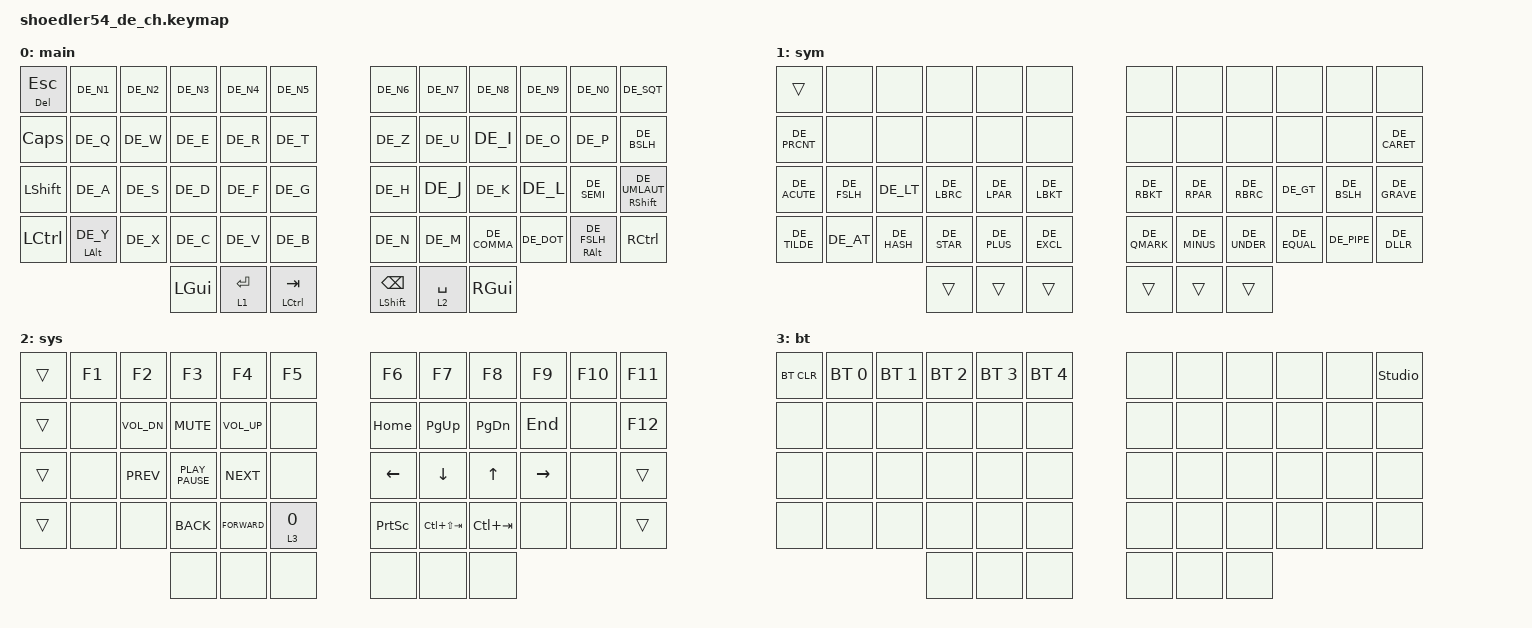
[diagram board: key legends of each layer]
#include <behaviors.dtsi>
#include <dt-bindings/zmk/keys.h>
#include <dt-bindings/zmk/bt.h>
#include "keys_de_swiss.h"

&lt { tapping-term-ms = <150>; };
&mt { tapping-term-ms = <150>; };

/ {
    behaviors {
        mttp: mttp { // Mod tap, tap-preferred
            compatible = "zmk,behavior-hold-tap";
            label = "MTTP";
            flavor = "tap-preferred";
            tapping-term-ms = <150>;
            bindings = <&kp>, <&kp>;
            #binding-cells = <2>;
            display-name = "Mod-Tap (Tap pref)";
        };

        mttpq: mttpq { // Mod tap, tap-preferred, Quick-tap
            compatible = "zmk,behavior-hold-tap";
            label = "MTTP";
            flavor = "tap-preferred";
            tapping-term-ms = <150>;
            quick-tap-ms = <149>;
            bindings = <&kp>, <&kp>;
            #binding-cells = <2>;
            display-name = "Mod-Tap (Tap pref)";
        };
    };

    keymap {
        compatible = "zmk,keymap";

        main {
            bindings = <
&mt DEL ESC  &kp DE_N1      &kp DE_N2  &kp DE_N3  &kp DE_N4  &kp DE_N5             &kp DE_N6          &kp DE_N7    &kp DE_N8     &kp DE_N9   &kp DE_N0           &kp DE_SQT
&kp CAPS     &kp DE_Q       &kp DE_W   &kp DE_E   &kp DE_R   &kp DE_T              &kp DE_Z           &kp DE_U     &kp DE_I      &kp DE_O    &kp DE_P            &kp DE_BSLH
&kp LSHIFT   &kp DE_A       &kp DE_S   &kp DE_D   &kp DE_F   &kp DE_G              &kp DE_H           &kp DE_J     &kp DE_K      &kp DE_L    &kp DE_SEMI         &mttp RSHIFT DE_UMLAUT
&kp LCTRL    &mt LALT DE_Y  &kp DE_X   &kp DE_C   &kp DE_V   &kp DE_B              &kp DE_N           &kp DE_M     &kp DE_COMMA  &kp DE_DOT  &mt RALT DE_FSLH    &kp RCTRL
                                       &kp LGUI   &lt 1 RET  &mt LCTRL TAB         &mttpq LSHFT BSPC  &lt 2 SPACE  &kp RGUI
            >;
        };

        sym {
            bindings = <
&trans        &none        &none        &none        &none        &none             &none         &none         &none         &none         &none        &none
&kp DE_PRCNT  &none        &none        &none        &none        &none             &none         &none         &none         &none         &none        &kp DE_CARET
&kp DE_ACUTE  &kp DE_FSLH  &kp DE_LT    &kp DE_LBRC  &kp DE_LPAR  &kp DE_LBKT       &kp DE_RBKT   &kp DE_RPAR   &kp DE_RBRC   &kp DE_GT     &kp DE_BSLH  &kp DE_GRAVE
&kp DE_TILDE  &kp DE_AT    &kp DE_HASH  &kp DE_STAR  &kp DE_PLUS  &kp DE_EXCL       &kp DE_QMARK  &kp DE_MINUS  &kp DE_UNDER  &kp DE_EQUAL  &kp DE_PIPE  &kp DE_DLLR
                                        &trans       &trans       &trans            &trans        &trans        &trans
            >;
        };

        sys {
            bindings = <
&trans  &kp F1  &kp F2        &kp F3            &kp F4           &kp F5       &kp F6           &kp F7           &kp F8       &kp F9     &kp F10  &kp F11
&trans  &none   &kp C_VOL_DN  &kp K_MUTE        &kp C_VOLUME_UP  &none        &kp HOME         &kp PG_UP        &kp PG_DN    &kp END    &none    &kp F12
&trans  &none   &kp K_PREV    &kp K_PLAY_PAUSE  &kp K_NEXT       &none        &kp LEFT         &kp DOWN         &kp UP       &kp RIGHT  &none    &trans
&trans  &none   &none         &kp K_BACK        &kp K_FORWARD    &lt 3 0      &kp PRINTSCREEN  &kp LC(LS(TAB))  &kp LC(TAB)  &none      &none    &trans
                              &none             &none            &none        &none            &none            &none
            >;
        };

        bt {
            bindings = <
&bt BT_CLR  &bt BT_SEL 0  &bt BT_SEL 1  &bt BT_SEL 2  &bt BT_SEL 3  &bt BT_SEL 4       &none  &none  &none  &none  &none  &studio_unlock
&none       &none         &none         &none         &none         &none              &none  &none  &none  &none  &none  &none
&none       &none         &none         &none         &none         &none              &none  &none  &none  &none  &none  &none
&none       &none         &none         &none         &none         &none              &none  &none  &none  &none  &none  &none
                                        &none         &none         &none              &none  &none  &none
            >;
        };


        extra1 { status = "reserved"; };

        extra2 { status = "reserved"; };
    };
};
